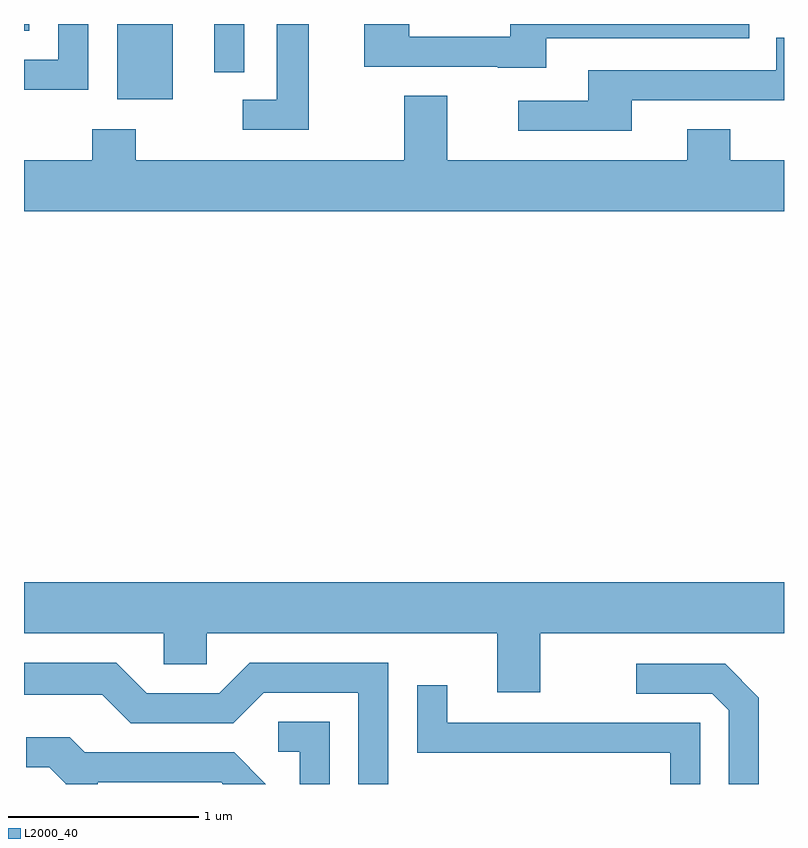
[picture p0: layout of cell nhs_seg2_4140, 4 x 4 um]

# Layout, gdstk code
import gdstk
lib = gdstk.Library(unit=1e-6, precision=1e-09)
def R(c, l, rs):  # rectangles x0, y0, x1, y1
    for r in rs: c.add(gdstk.rectangle(r[:2], r[2:], *l))
def P(c, l, *ps):  # polygons
    for p in ps: c.add(gdstk.Polygon(p, *l))
L2000_40 = (2000, 40)

nhs_seg2_4140 = lib.new_cell('nhs_seg2_4140')
R(nhs_seg2_4140, L2000_40, [(308.101,993.406,308.394,993.802), (308.611,993.548,308.769,993.802), (307.611,993.766,307.639,993.802)])
P(nhs_seg2_4140, L2000_40, [(310.359,993.726),(311.428,993.726),(311.428,993.802),(310.171,993.802),(310.171,993.734),(309.639,993.734),(309.639,993.802),(309.401,993.802),(309.401,993.576),(310.105,993.576),(310.105,993.571),(310.359,993.571)],
  [(307.949,993.802),(307.791,993.802),(307.791,993.614),(307.611,993.614),(307.611,993.456),(307.949,993.456)],
  [(309.109,993.802),(308.941,993.802),(308.941,993.404),(308.763,993.404),(308.763,993.246),(309.109,993.246)],
  [(310.809,993.401),(311.611,993.401),(311.611,993.729),(311.571,993.729),(311.571,993.559),(310.581,993.559),(310.581,993.399),(310.213,993.399),(310.213,993.241),(310.809,993.241)],
  [(311.611,993.084),(311.329,993.084),(311.329,993.249),(311.101,993.249),(311.101,993.084),(309.839,993.084),(309.839,993.424),(309.611,993.424),(309.611,993.084),(308.199,993.084),(308.199,993.249),(307.971,993.249),(307.971,993.084),(307.611,993.084),(307.611,992.816),(311.611,992.816)],
  [(310.329,990.596),(311.611,990.596),(311.611,990.864),(307.611,990.864),(307.611,990.596),(308.346,990.596),(308.346,990.431),(308.574,990.431),(308.574,990.596),(310.101,990.596),(310.101,990.286),(310.329,990.286)],
  [(309.529,990.439),(308.799,990.439),(308.639,990.279),(308.257,990.279),(308.097,990.439),(307.611,990.439),(307.611,990.271),(308.024,990.271),(308.174,990.121),(308.712,990.121),(308.872,990.281),(309.371,990.281),(309.371,989.802),(309.529,989.802)],
  [(311.479,990.257),(311.302,990.434),(310.833,990.434),(310.833,990.276),(311.234,990.276),(311.321,990.189),(311.321,989.802),(311.479,989.802)],
  [(311.169,990.124),(309.839,990.124),(309.839,990.323),(309.681,990.323),(309.681,989.966),(311.011,989.966),(311.011,989.802),(311.169,989.802)],
  [(309.219,990.129),(308.948,990.129),(308.948,989.971),(309.061,989.971),(309.061,989.802),(309.219,989.802)],
  [(307.999,989.811),(308.649,989.811),(308.658,989.802),(308.884,989.802),(308.717,989.969),(307.932,989.969),(307.852,990.049),(307.623,990.049),(307.623,989.891),(307.744,989.891),(307.831,989.804),(307.831,989.802),(307.999,989.802)])

lib.write_gds('nhs_seg2_4140.gds')
